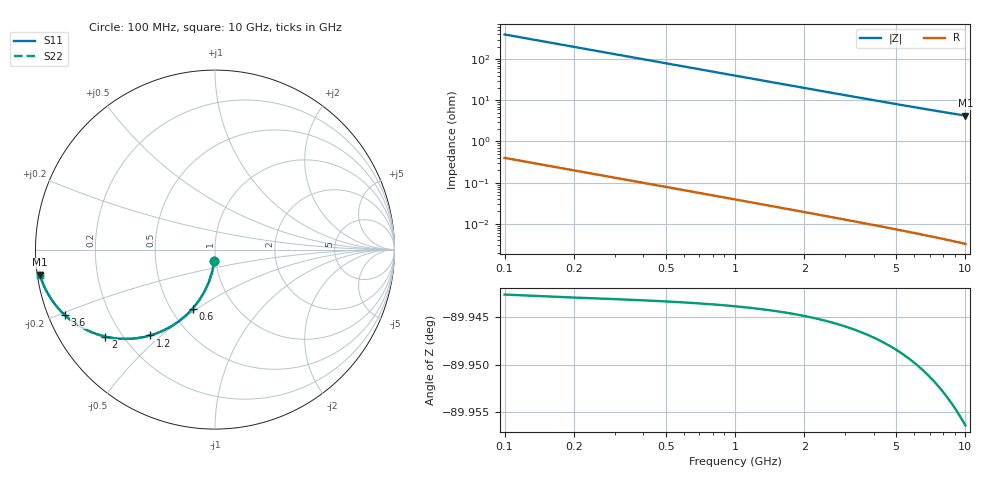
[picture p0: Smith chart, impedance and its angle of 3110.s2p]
# Hz S RI R 50.00
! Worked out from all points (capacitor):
!   100 points, 100 MHz to 10 GHz, reference 50 ohm
!   read as one part in shunt: C = 3.99 pF near 100 MHz
!   lowest |Z| = 4.25 ohm at 10 GHz (marker M1)
!   S11 on the Smith chart (normalised r, x): 100 MHz: 0.98, -0.12; 600 MHz: 0.64, -0.48; 1.2 GHz: 0.31, -0.46; 2 GHz: 0.14, -0.34; 3.6 GHz: 0.05, -0.21; 10 GHz: 0.01, -0.07
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1e8  -0.00395 -0.0624  0.996 -0.0626  0.996 -0.0626  -0.00395 -0.0624
2e8  -0.0156 -0.1232  0.9843 -0.1237  0.9843 -0.1237  -0.0156 -0.1232
3e8  -0.0343 -0.1813  0.9656 -0.182  0.9656 -0.182  -0.0343 -0.1813
4e8  -0.0594 -0.2354  0.9405 -0.2364  0.9405 -0.2364  -0.0594 -0.2354
5e8  -0.0897 -0.2847  0.9102 -0.286  0.9102 -0.286  -0.0897 -0.2847
6e8  -0.1243 -0.3287  0.8757 -0.3301  0.8757 -0.3301  -0.1243 -0.3287
7e8  -0.1618 -0.3669  0.8381 -0.3687  0.8381 -0.3687  -0.1618 -0.3669
9e8  -0.2418 -0.4266  0.7582 -0.4288  0.7582 -0.4288  -0.2418 -0.4266
1.2e9  -0.3616 -0.4785  0.6383 -0.4814  0.6383 -0.4814  -0.3616 -0.4785
1.5e9  -0.4693 -0.4967  0.5306 -0.5004  0.5306 -0.5004  -0.4693 -0.4967
1.8e9  -0.56 -0.4937  0.4399 -0.4981  0.4399 -0.4981  -0.56 -0.4937
2e9  -0.611 -0.4845  0.3889 -0.4895  0.3889 -0.4895  -0.611 -0.4845
2.3e9  -0.675 -0.465  0.3249 -0.4707  0.3249 -0.4707  -0.675 -0.465
2.6e9  -0.7262 -0.4421  0.2737 -0.4486  0.2737 -0.4486  -0.7262 -0.4421
3e9  -0.7793 -0.4105  0.2206 -0.4179  0.2206 -0.4179  -0.7793 -0.4105
3.4e9  -0.8193 -0.38  0.1806 -0.3884  0.1806 -0.3884  -0.8193 -0.38
3.6e9  -0.8356 -0.3656  0.1643 -0.3745  0.1643 -0.3745  -0.8356 -0.3656
4.3e9  -0.8788 -0.3204  0.121 -0.3311  0.121 -0.3311  -0.8788 -0.3204
5.1e9  -0.9108 -0.278  0.089 -0.2908  0.089 -0.2908  -0.9108 -0.278
6.7e9  -0.9465 -0.2158  0.0533 -0.2328  0.0533 -0.2328  -0.9465 -0.2158
8.4e9  -0.9655 -0.1709  0.0342 -0.1924  0.0342 -0.1924  -0.9655 -0.1709
1e10  -0.9756 -0.1402  0.024 -0.1662  0.024 -0.1662  -0.9756 -0.1402
